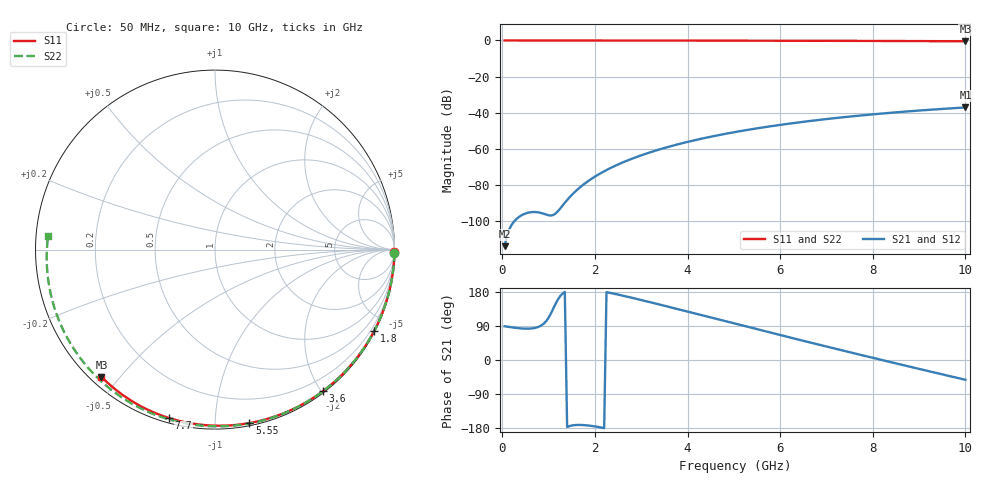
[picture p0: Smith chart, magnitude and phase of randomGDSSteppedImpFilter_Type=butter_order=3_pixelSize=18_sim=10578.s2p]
! freq	dB(S11)	phase(S11)	dB(S12)	phase(S12)
!  dB(S21)	phase(S21)	dB(S22)	phase(S22)
!S-par simulation data
#  GHz  S  DB  R 50
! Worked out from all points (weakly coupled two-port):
!   200 points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, 50 MHz to 10 GHz, reference 50 ohm
!   highest |S21| = -37.15 dB at 10 GHz (marker M1); lowest = -114.0 dB at 50 MHz (marker M2)
!   lowest |S11| = -0.4 dB at 10 GHz (marker M3), VSWR 39.13, Z = 1.53 - j22.4 ohm
!   |S11| at or under -10 dB: nowhere
!   |S22| runs from -0.6 to 0.0 dB; largest |S21 - S12| = 0
!   S11 on the Smith chart (normalised r, x): 50 MHz: open; 1.8 GHz: 0.04, -4.17; 3.6 GHz: 0.02, -2.02; 5.55 GHz: 0.02, -1.22; 7.7 GHz: 0.02, -0.76; 10 GHz: 0.03, -0.45
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0.05  -0.00 -0.8  -114.03 89.0  -114.03 89.0  -0.00 -1.0
0.45  -0.01 -6.8  -96.47 83.0  -96.47 83.0  -0.01 -9.3
0.85  -0.02 -12.9  -95.71 91.8  -95.71 91.8  -0.02 -17.6
1.3  -0.02 -19.6  -91.56 175.0  -91.56 175.0  -0.03 -26.7
1.75  -0.03 -26.2  -79.92 -171.7  -79.92 -171.7  -0.05 -35.8
1.8  -0.03 -27.0  -78.95 -172.2  -78.95 -172.2  -0.05 -36.8
2.1  -0.04 -31.4  -73.94 -177.4  -73.94 -177.4  -0.05 -42.7
2.3  -0.04 -34.3  -71.18 177.9  -71.18 177.9  -0.06 -46.6
2.5  -0.05 -37.2  -68.75 172.6  -68.75 172.6  -0.06 -50.5
2.9  -0.06 -42.9  -64.59 161.3  -64.59 161.3  -0.08 -58.2
3.4  -0.07 -49.9  -60.36 146.3  -60.36 146.3  -0.09 -67.7
3.6  -0.07 -52.7  -58.89 140.2  -58.89 140.2  -0.10 -71.4
4.3  -0.09 -62.3  -54.46 118.5  -54.46 118.5  -0.12 -84.2
5.05  -0.11 -72.3  -50.66 95.2  -50.66 95.2  -0.15 -97.5
5.55  -0.13 -78.8  -48.52 79.7  -48.52 79.7  -0.18 -106.2
6.1  -0.15 -85.7  -46.44 62.9  -46.44 62.9  -0.21 -115.7
6.7  -0.18 -93.2  -44.46 44.6  -44.46 44.6  -0.25 -125.9
7.7  -0.24 -105.2  -41.69 14.6  -41.69 14.6  -0.33 -142.9
8.35  -0.29 -112.8  -40.17 -4.5  -40.17 -4.5  -0.39 -154.2
9.2  -0.36 -122.6  -38.47 -29.3  -38.47 -29.3  -0.49 -169.4
9.6  -0.40 -127.2  -37.78 -40.8  -37.78 -40.8  -0.55 -176.9
10  -0.44 -131.7  -37.15 -52.2  -37.15 -52.2  -0.60 175.4
